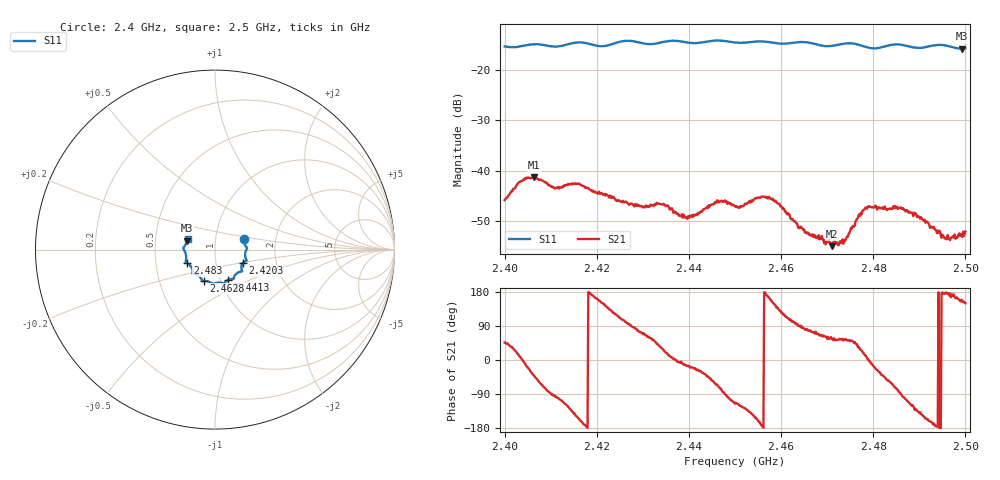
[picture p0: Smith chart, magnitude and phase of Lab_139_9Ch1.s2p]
# Hz S RI R 50
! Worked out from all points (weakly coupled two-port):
!   601 points, 2.4 GHz to 2.5 GHz, reference 50 ohm
!   highest |S21| = -41.36 dB at 2.4063 GHz (marker M1); lowest = -55.0 dB at 2.471 GHz (marker M2)
!   lowest |S11| = -15.8 dB at 2.4993 GHz (marker M3), VSWR 1.39, Z = 36.5 + j3.71 ohm
!   |S11| at or under -10 dB: start of sweep to end of sweep
!   S12 and S22 are empty: the file has one direction only
!   S11 on the Smith chart (normalised r, x): 2.4 GHz: 1.37, +0.16; 2.4203 GHz: 1.35, -0.21; 2.4413 GHz: 1.09, -0.38; 2.4628 GHz: 0.83, -0.30; 2.483 GHz: 0.72, -0.11; 2.5 GHz: 0.73, +0.09
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2.4e9  0.1605 0.0571  0.00353 0.00368  0 0  0 0
2.403333e9  0.1686 0.0232  0.00768 0.00116  0 0  0 0
2.406333e9  0.1789 0.00938  0.0065 -0.00556  0 0  0 0
2.411e9  0.1683 -0.021  -0.000851 -0.0066  0 0  0 0
2.416667e9  0.1759 -0.0613  -0.00685 -0.00215  0 0  0 0
2.420333e9  0.1552 -0.074  -0.00554 0.00221  0 0  0 0
2.433333e9  0.108 -0.1484  0.00362 0.00305  0 0  0 0
2.441333e9  0.0743 -0.1677  0.00339 -0.00135  0 0  0 0
2.446167e9  0.0497 -0.1886  0.002 -0.00468  0 0  0 0
2.45e9  0.0294 -0.1839  -0.0019 -0.00403  0 0  0 0
2.457e9  -0.0168 -0.1883  -0.00529 0.000915  0 0  0 0
2.462833e9  -0.0629 -0.1749  -0.000467 0.00311  0 0  0 0
2.466667e9  -0.0742 -0.1678  0.000658 0.00221  0 0  0 0
2.471e9  -0.102 -0.1387  0.00101 0.00147  0 0  0 0
2.474e9  -0.1233 -0.1345  0.00117 0.00171  0 0  0 0
2.4785e9  -0.1253 -0.1112  0.00423 0.000636  0 0  0 0
2.483e9  -0.1548 -0.0765  0.00251 -0.00319  0 0  0 0
2.483333e9  -0.1569 -0.0757  0.00243 -0.00338  0 0  0 0
2.4895e9  -0.1609 -0.0348  -0.00242 -0.00247  0 0  0 0
2.495333e9  -0.1745 0.0124  -0.00221 0.000202  0 0  0 0
2.499333e9  -0.154 0.0495  -0.00196 0.000987  0 0  0 0
2.5e9  -0.1525 0.0588  -0.00216 0.00125  0 0  0 0
